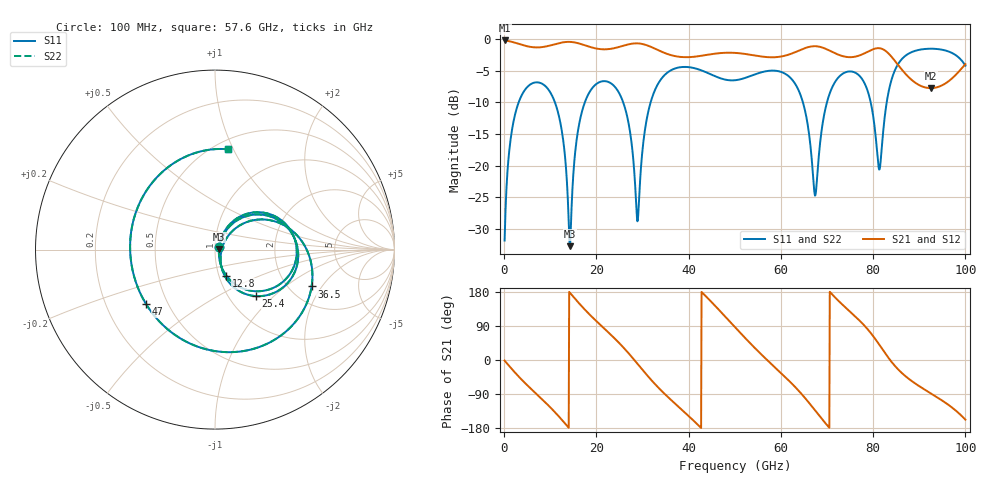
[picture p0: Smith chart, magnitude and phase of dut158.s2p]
! Touchstone file exported from HFSS 2026.1.0
!  File:  C:/ffzhzh/LocalFiles/Ansys_Project_Files/temp_train_TSV_RDL_158_1783647153_29156.aedt
!  Generated:  09:53:23 AM Jul 10, 2026
!  Design:  TSV_RDL
!  Project:  temp_train_TSV_RDL_158_1783647153_29156
! Variables:
!  h_bsmrdl = 2.25um
!  h_ox = 20um
!  h_rdl = 5um
!  h_sub = 68.95um
!  h_tmrdl = 4.31um
!  h_tsv = 68.95um
!  h_via = 3um
!  l_bsmrdl = 675.36um
!  l_sub = 4366.48um
!  l_tmrdl = 448.65um
!  m_sub = 200um
!  pitch = 45.07um
!  r_tsv = 10.65um
!  s_tmrdl = 10um
!  w_bsmrdl = 20.32um
!  w_sub = 500um
!  w_tmrdl = 28.28um
!  x_tsv_center1 = 462.79um
!  x_tsv_center2 = 1158.47um
!  x_tsv_center3 = 1635.4um
!  x_tsv_center4 = 2331.08um
!  x_tsv_center5 = 2808.01um
!  x_tsv_center6 = 3503.69um
# GHz S MA R 50.000000
! Terminal data exported
! Port[1] = TM_RDL1_1_T1
! Port[2] = TM_RDL5_1_T1
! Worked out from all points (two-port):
!   1000 points, 100 MHz to 100 GHz, reference 50 ohm
!   highest |S21| = -0.19 dB at 100 MHz (marker M1); lowest = -7.7 dB at 92.5 GHz (marker M2)
!   |S21| within 3 dB of the highest: start of sweep to 84.46 GHz
!   lowest |S11| = -32.8 dB at 14.3 GHz (marker M3), VSWR 1.05, Z = 52.3 + j0.35 ohm
!   |S11| at or under -10 dB: 11.01 GHz to 17.49 GHz (6.478 GHz wide, 45.5 % of centre); 25.81 GHz to 31.75 GHz (5.942 GHz wide, 20.6 % of centre); 64.78 GHz to 69.98 GHz (5.206 GHz wide, 7.73 % of centre) (the widest 3 of 5)
!   |S22| runs from -32.8 to -1.5 dB; largest |S21 - S12| = 4.6e-11
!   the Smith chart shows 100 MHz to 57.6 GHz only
!   S11 on the Smith chart (normalised r, x): 100 MHz: 1.05, +0.03; 12.8 GHz: 1.08, -0.32; 25.4 GHz: 1.33, -0.78; 36.5 GHz: 2.62, -1.61; 47 GHz: 0.38, -0.30; 57.6 GHz: 0.58, +0.95
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0.1  0.0255 29.5  0.9781 -1.5  0.9781 -1.5  0.0255 29.5
! Gamma 0 0 0 0
! Port Impedance 50 0 50 0
1.7  0.1916 57.2  0.9533 -24.3  0.9533 -24.3  0.1916 57.2
4.5  0.3971 25.7  0.8888 -60.5  0.8888 -60.5  0.3971 25.7
12.8  0.1587 -66.5  0.9457 -161.9  0.9457 -161.9  0.1587 -66.4
14.3  0.023 8.4  0.9527 176.8  0.9527 176.8  0.02304 8.2
16.8  0.2615 46.1  0.9129 142.1  0.9129 142.1  0.2614 46.1
25.4  0.3455 -48.6  0.8789 39.0  0.8789 39.0  0.3455 -48.6
28.9  0.03619 -13.8  0.9275 -9.9  0.9275 -9.9  0.03616 -13.8
33.4  0.4459 13.2  0.8193 -72.5  0.8193 -72.5  0.4459 13.2
36.5  0.5761 -20.9  0.7429 -109.0  0.7429 -109.0  0.5761 -20.8
42.4  0.5733 -84.7  0.7365 -175.6  0.7365 -175.6  0.5732 -84.7
47  0.4894 -141.7  0.7776 126.7  0.7776 126.7  0.4893 -141.7
50.1  0.4738 176.7  0.7796 86.0  0.7796 86.0  0.4737 176.6
57.6  0.5634 82.9  0.7201 -6.8  0.7201 -6.8  0.5633 82.8
63.8  0.397 14.5  0.81 -80.4  0.81 -80.4  0.3969 14.3
66.7  0.1108 -2.5  0.8779 -122.1  0.8779 -122.1  0.1102 -3.2
70.6  0.3739 82.3  0.8111 180.0  0.8111 180.0  0.3735 82.5
77.6  0.4844 11.0  0.7583 97.3  0.7583 97.3  0.4844 11.3
81.3  0.09294 33.4  0.8494 41.0  0.8494 41.0  0.0954 33.6
83.4  0.3918 79.6  0.7673 4.4  0.7673 4.4  0.3923 79.3
92.5  0.8416 1.6  0.4102 -88.1  0.4102 -88.1  0.8414 1.4
100  0.6181 -59.9  0.6353 -157.5  0.6353 -157.5  0.6178 -60.0
